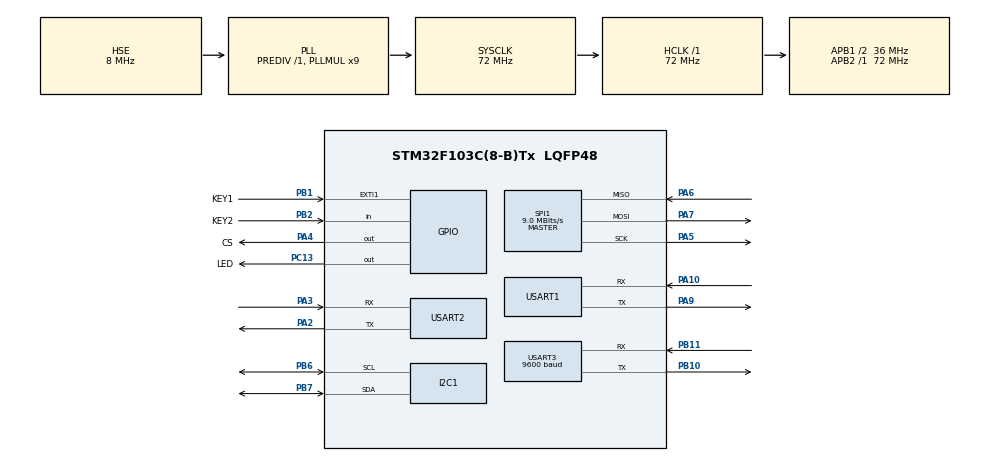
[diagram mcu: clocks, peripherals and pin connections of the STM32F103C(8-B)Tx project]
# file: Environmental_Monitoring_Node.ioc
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Mcu.Family=STM32F1
Mcu.Name=STM32F103C(8-B)Tx
Mcu.Package=LQFP48
NVIC.EXTI1_IRQn=true\:5\:0\:true\:false\:true\:true\:true\:true
NVIC.PriorityGroup=NVIC_PRIORITYGROUP_4
NVIC.RTC_Alarm_IRQn=true\:15\:0\:true\:false\:true\:true\:true\:true
NVIC.TIM2_IRQn=true\:1\:0\:true\:false\:true\:false\:true\:true
NVIC.TimeBase=TIM2_IRQn
NVIC.TimeBaseIP=TIM2
NVIC.USART2_IRQn=true\:0\:0\:false\:false\:true\:true\:true\:true
NVIC.USART3_IRQn=true\:0\:0\:false\:false\:true\:true\:true\:true
PA10.Mode=Asynchronous
PA10.Signal=USART1_RX
PA13.Mode=Serial_Wire
PA13.Signal=SYS_JTMS-SWDIO
PA14.Mode=Serial_Wire
PA14.Signal=SYS_JTCK-SWCLK
PA2.Mode=Asynchronous
PA2.Signal=USART2_TX
PA3.Mode=Asynchronous
PA3.Signal=USART2_RX
PA4.GPIO_Label=CS
PA4.GPIO_ModeDefaultOutputPP=GPIO_MODE_OUTPUT_PP
PA4.GPIO_Speed=GPIO_SPEED_FREQ_HIGH
PA4.PinState=GPIO_PIN_SET
PA4.Signal=GPIO_Output
PA5.Mode=Full_Duplex_Master
PA5.Signal=SPI1_SCK
PA6.Mode=Full_Duplex_Master
PA6.Signal=SPI1_MISO
PA7.Mode=Full_Duplex_Master
PA7.Signal=SPI1_MOSI
PA9.Mode=Asynchronous
PA9.Signal=USART1_TX
PB1.GPIO_Label=KEY1
PB1.GPIO_ModeDefaultEXTI=GPIO_MODE_IT_FALLING
PB1.GPIO_PuPd=GPIO_PULLUP
PB1.Signal=GPXTI1
PB10.Mode=Asynchronous
PB10.Signal=USART3_TX
PB11.Mode=Asynchronous
PB11.Signal=USART3_RX
PB2.GPIO_Label=KEY2
PB2.GPIO_PuPd=GPIO_PULLUP
PB2.Signal=GPIO_Input
PB6.Mode=I2C
PB6.Signal=I2C1_SCL
PB7.Mode=I2C
PB7.Signal=I2C1_SDA
PC13-TAMPER-RTC.GPIO_Label=LED
PC13-TAMPER-RTC.GPIO_ModeDefaultOutputPP=GPIO_MODE_OUTPUT_PP
PC13-TAMPER-RTC.GPIO_PuPd=GPIO_PULLUP
PC13-TAMPER-RTC.GPIO_Speed=GPIO_SPEED_FREQ_LOW
PC13-TAMPER-RTC.PinState=GPIO_PIN_SET
PC13-TAMPER-RTC.Signal=GPIO_Output
PC14-OSC32_IN.Mode=LSE-External-Oscillator
PC14-OSC32_IN.Signal=RCC_OSC32_IN
PC15-OSC32_OUT.Mode=LSE-External-Oscillator
PC15-OSC32_OUT.Signal=RCC_OSC32_OUT
PD0-OSC_IN.Mode=HSE-External-Oscillator
PD0-OSC_IN.Signal=RCC_OSC_IN
PD1-OSC_OUT.Mode=HSE-External-Oscillator
PD1-OSC_OUT.Signal=RCC_OSC_OUT
ProjectManager.HeapSize=0x200
ProjectManager.StackSize=0x400
ProjectManager.TargetToolchain=MDK-ARM V5.32
RCC.AHBFreq_Value=72000000
RCC.APB1CLKDivider=RCC_HCLK_DIV2
RCC.APB1Freq_Value=36000000
RCC.APB1TimFreq_Value=72000000
RCC.APB2Freq_Value=72000000
RCC.APB2TimFreq_Value=72000000
RCC.HCLKFreq_Value=72000000
RCC.PLLMUL=RCC_PLL_MUL9
RCC.PLLSourceVirtual=RCC_PLLSOURCE_HSE
RCC.SYSCLKFreq_VALUE=72000000
RCC.SYSCLKSource=RCC_SYSCLKSOURCE_PLLCLK
RCC.USBFreq_Value=72000000
SPI1.BaudRatePrescaler=SPI_BAUDRATEPRESCALER_8
SPI1.CalculateBaudRate=9.0 MBits/s
SPI1.Direction=SPI_DIRECTION_2LINES
SPI1.Mode=SPI_MODE_MASTER
SPI1.VirtualType=VM_MASTER
USART1.VirtualMode=VM_ASYNC
USART2.VirtualMode=VM_ASYNC
USART3.BaudRate=9600
USART3.VirtualMode=VM_ASYNC
VP_RTC_VS_RTC_Activate.Mode=RTC_Enabled
VP_RTC_VS_RTC_Calendar.Mode=RTC_Calendar
VP_SYS_VS_tim2.Mode=TIM2
board=custom

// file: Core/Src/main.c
/* USER CODE BEGIN Header */
/**
  ******************************************************************************
  * @file           : main.c
  * @brief          : Main program body
  ******************************************************************************
  * @attention
  *
  * Copyright (c) 2026 STMicroelectronics.
  * All rights reserved.
  *
  * This software is licensed under terms that can be found in the LICENSE file
  * in the root directory of this software component.
  * If no LICENSE file comes with this software, it is provided AS-IS.
  *
  ******************************************************************************
  */
/* USER CODE END Header */
#include "main.h"
#include "i2c.h"
#include "rtc.h"
#include "spi.h"
#include "usart.h"
#include "gpio.h"

/* USER CODE BEGIN Includes */
#include "freertos_demo.h"
#include "low_power.h"
#include <stdio.h>
/* USER CODE END Includes */

void SystemClock_Config(void);

int main(void)
{

  /* MCU Configuration--------------------------------------------------------*/

  /* Reset of all peripherals, Initializes the Flash interface and the Systick. */
  HAL_Init();

  /* USER CODE BEGIN Init */
  /* 检测 STANDBY 唤醒复位（F1：唤醒后系统复位，PWR_FLAG_SB 置位）。
   * 注意：这里只读标志、不在此清除——rtc.c 的 MX_RTC_Init 需要靠 SB 标志
   * 决定是否跳过 RTC 时间清零（保留跨休眠计时），清标志放到 MX_RTC_Init 之后。 */
  __HAL_RCC_PWR_CLK_ENABLE();
  hrtc.Instance = RTC;
  if (__HAL_PWR_GET_FLAG(PWR_FLAG_SB))
  {
      /* RTC 闹钟标志 ALRAF 在 STANDBY 期间保持置位，可区分唤醒源 */
      if (__HAL_RTC_ALARM_GET_FLAG(&hrtc, RTC_FLAG_ALRAF))
      {
          g_wakeup_reason = WAKEUP_REASON_RTC;
      }
      else
      {
          g_wakeup_reason = WAKEUP_REASON_KEY;
      }
      /* 判定完唤醒源后立即清 ALRAF：MX_RTC_Init 会使能 RTC_Alarm 中断，
       * 若 ALRAF 仍置位会误触发；周期睡眠的闹钟在 STANDBY 里已作为唤醒源用掉。 */
      __HAL_RTC_ALARM_CLEAR_FLAG(&hrtc, RTC_FLAG_ALRAF);
  }
  else
  {
      g_wakeup_reason = WAKEUP_REASON_KEY;   /* 上电/复位启动 */
  }
  /* USER CODE END Init */

  /* Configure the system clock */
  SystemClock_Config();

  /* Initialize all configured peripherals */
  MX_GPIO_Init();
  MX_USART1_UART_Init();
  MX_I2C1_Init();
  MX_SPI1_Init();
  MX_USART2_UART_Init();
  MX_USART3_UART_Init();
  MX_RTC_Init();
  /* USER CODE BEGIN 2 */
  /* 清除 STANDBY 唤醒标志（必须在 MX_RTC_Init 判定唤醒源之后清除） */
  if (__HAL_PWR_GET_FLAG(PWR_FLAG_SB))
  {
      __HAL_PWR_CLEAR_FLAG(PWR_FLAG_SB);
      __HAL_PWR_CLEAR_FLAG(PWR_FLAG_WU);
      printf("[Main] Woke from STANDBY, reason=%s\r\n",
             (g_wakeup_reason == WAKEUP_REASON_RTC) ? "RTC" : "KEY(PA0)");
  }
  else
  {
      printf("[Main] Cold boot\r\n");
  }

  /* 非 RTC 闹钟唤醒（PA0 手动 / 冷启动）→ 常亮模式：
   * 取消上次周期睡眠可能残留的 RTC 闹钟，保证常亮期间不会被拉回睡眠。 */
  if (g_wakeup_reason != WAKEUP_REASON_RTC)
  {
      HAL_RTC_DeactivateAlarm(&hrtc, RTC_ALARM_A);
      __HAL_RTC_ALARM_CLEAR_FLAG(&hrtc, RTC_FLAG_ALRAF);
      printf("[Main] Stale RTC alarm cleared (always-on mode)\r\n");
  }

  freertos_start();

  /* USER CODE END 2 */

  /* Infinite loop */
  while (1)
  {

  }
}

void SystemClock_Config(void)
{
  RCC_OscInitTypeDef RCC_OscInitStruct = {0};
  RCC_ClkInitTypeDef RCC_ClkInitStruct = {0};
  RCC_PeriphCLKInitTypeDef PeriphClkInit = {0};

  /** Initializes the RCC Oscillators according to the specified parameters
  * in the RCC_OscInitTypeDef structure.
  */
  RCC_OscInitStruct.OscillatorType = RCC_OSCILLATORTYPE_LSI|RCC_OSCILLATORTYPE_HSE;
  RCC_OscInitStruct.HSEState = RCC_HSE_ON;
  RCC_OscInitStruct.HSEPredivValue = RCC_HSE_PREDIV_DIV1;
  RCC_OscInitStruct.HSIState = RCC_HSI_ON;
  RCC_OscInitStruct.LSIState = RCC_LSI_ON;
  RCC_OscInitStruct.PLL.PLLState = RCC_PLL_ON;
  RCC_OscInitStruct.PLL.PLLSource = RCC_PLLSOURCE_HSE;
  RCC_OscInitStruct.PLL.PLLMUL = RCC_PLL_MUL9;
  if (HAL_RCC_OscConfig(&RCC_OscInitStruct) != HAL_OK)
  {
    Error_Handler();
  }

  /** Initializes the CPU, AHB and APB buses clocks
  */
  RCC_ClkInitStruct.ClockType = RCC_CLOCKTYPE_HCLK|RCC_CLOCKTYPE_SYSCLK
                              |RCC_CLOCKTYPE_PCLK1|RCC_CLOCKTYPE_PCLK2;
  RCC_ClkInitStruct.SYSCLKSource = RCC_SYSCLKSOURCE_PLLCLK;
  RCC_ClkInitStruct.AHBCLKDivider = RCC_SYSCLK_DIV1;
  RCC_ClkInitStruct.APB1CLKDivider = RCC_HCLK_DIV2;
  RCC_ClkInitStruct.APB2CLKDivider = RCC_HCLK_DIV1;

  if (HAL_RCC_ClockConfig(&RCC_ClkInitStruct, FLASH_LATENCY_2) != HAL_OK)
  {
    Error_Handler();
  }
  PeriphClkInit.PeriphClockSelection = RCC_PERIPHCLK_RTC;
  PeriphClkInit.RTCClockSelection = RCC_RTCCLKSOURCE_LSI;
  if (HAL_RCCEx_PeriphCLKConfig(&PeriphClkInit) != HAL_OK)
  {
    Error_Handler();
  }
}

/* USER CODE BEGIN 4 */
// 重定向printf到USART1
int fputc(int ch, FILE *f)
{
  HAL_UART_Transmit(&huart1, (uint8_t *)&ch, 1, 0xFFFF);
  return ch;
}
// 可选：重定向scanf（如果不用可以不加）
int fgetc(FILE *f)
{
  uint8_t ch = 0;
  HAL_UART_Receive(&huart1, &ch, 1, 0xFFFF);
  return ch;
}
/* USER CODE END 4 */

void HAL_TIM_PeriodElapsedCallback(TIM_HandleTypeDef *htim)
{
  if (htim->Instance == TIM2)
  {
    HAL_IncTick();
  }
}

void Error_Handler(void)
{
  __disable_irq();
  while (1)
  {
  }
}
